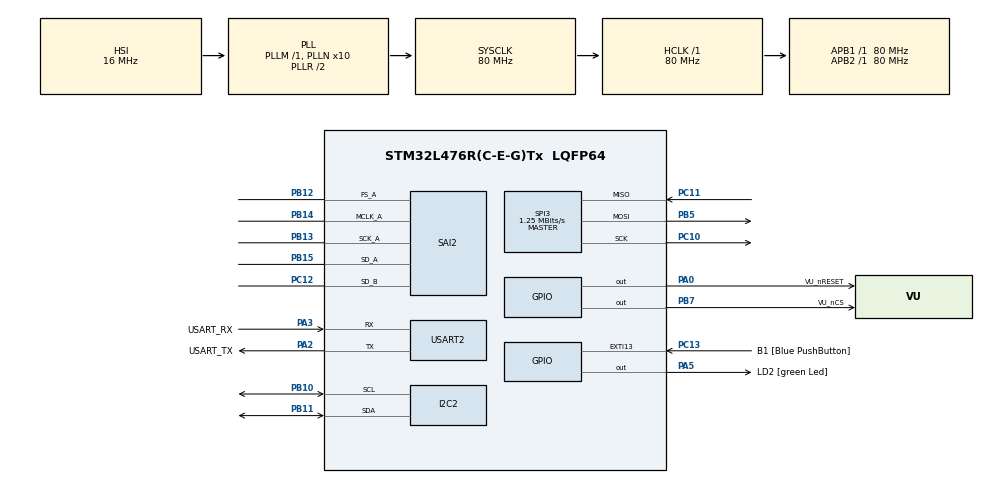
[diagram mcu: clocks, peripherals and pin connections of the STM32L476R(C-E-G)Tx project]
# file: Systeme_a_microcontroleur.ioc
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Dma.Request0=SAI2_A
Dma.Request1=SAI2_B
Dma.SAI2_A.0.Direction=DMA_MEMORY_TO_PERIPH
Dma.SAI2_A.0.Instance=DMA1_Channel6
Dma.SAI2_A.0.MemDataAlignment=DMA_MDATAALIGN_WORD
Dma.SAI2_A.0.MemInc=DMA_MINC_ENABLE
Dma.SAI2_A.0.Mode=DMA_CIRCULAR
Dma.SAI2_A.0.PeriphDataAlignment=DMA_PDATAALIGN_WORD
Dma.SAI2_A.0.PeriphInc=DMA_PINC_DISABLE
Dma.SAI2_A.0.Priority=DMA_PRIORITY_LOW
Dma.SAI2_B.1.Direction=DMA_PERIPH_TO_MEMORY
Dma.SAI2_B.1.Instance=DMA1_Channel7
Dma.SAI2_B.1.MemDataAlignment=DMA_MDATAALIGN_WORD
Dma.SAI2_B.1.MemInc=DMA_MINC_ENABLE
Dma.SAI2_B.1.Mode=DMA_CIRCULAR
Dma.SAI2_B.1.PeriphDataAlignment=DMA_PDATAALIGN_WORD
Dma.SAI2_B.1.PeriphInc=DMA_PINC_DISABLE
Dma.SAI2_B.1.Priority=DMA_PRIORITY_LOW
I2C2.Timing=0x10D19CE4
Mcu.Family=STM32L4
Mcu.Name=STM32L476R(C-E-G)Tx
Mcu.Package=LQFP64
NVIC.DMA1_Channel6_IRQn=true\:0\:0\:false\:false\:true\:false\:true\:true
NVIC.DMA1_Channel7_IRQn=true\:0\:0\:false\:false\:true\:false\:true\:true
NVIC.PriorityGroup=NVIC_PRIORITYGROUP_4
NVIC.SAI2_IRQn=true\:0\:0\:false\:false\:true\:true\:true\:true
PA0.GPIO_Label=VU_nRESET
PA0.Signal=GPIO_Output
PA13\ (JTMS-SWDIO).GPIO_Label=TMS
PA13\ (JTMS-SWDIO).Mode=Serial_Wire
PA13\ (JTMS-SWDIO).Signal=SYS_JTMS-SWDIO
PA14\ (JTCK-SWCLK).GPIO_Label=TCK
PA14\ (JTCK-SWCLK).Mode=Serial_Wire
PA14\ (JTCK-SWCLK).Signal=SYS_JTCK-SWCLK
PA2.GPIO_Label=USART_TX
PA2.GPIO_Mode=GPIO_MODE_AF_PP
PA2.GPIO_PuPd=GPIO_NOPULL
PA2.GPIO_Speed=GPIO_SPEED_FREQ_VERY_HIGH
PA2.Mode=Asynchronous
PA2.Signal=USART2_TX
PA3.GPIO_Label=USART_RX
PA3.GPIO_Mode=GPIO_MODE_AF_PP
PA3.GPIO_PuPd=GPIO_NOPULL
PA3.GPIO_Speed=GPIO_SPEED_FREQ_VERY_HIGH
PA3.Mode=Asynchronous
PA3.Signal=USART2_RX
PA5.GPIO_Label=LD2 [green Led]
PA5.GPIO_ModeDefaultOutputPP=GPIO_MODE_OUTPUT_PP
PA5.GPIO_PuPd=GPIO_NOPULL
PA5.GPIO_Speed=GPIO_SPEED_FREQ_LOW
PA5.Signal=GPIO_Output
PB10.Mode=I2C
PB10.Signal=I2C2_SCL
PB11.Mode=I2C
PB11.Signal=I2C2_SDA
PB12.Mode=SAI_A_MasterWithClock
PB12.Signal=SAI2_FS_A
PB13.Mode=SAI_A_MasterWithClock
PB13.Signal=SAI2_SCK_A
PB14.Mode=SAI_A_MasterWithClock
PB14.Signal=SAI2_MCLK_A
PB15.Mode=SAI_A_MasterWithClock
PB15.Signal=SAI2_SD_A
PB3\ (JTDO-TRACESWO).GPIO_Label=SWO
PB3\ (JTDO-TRACESWO).Signal=SYS_JTDO-SWO
PB5.Mode=Full_Duplex_Master
PB5.Signal=SPI3_MOSI
PB7.GPIO_Label=VU_nCS
PB7.Signal=GPIO_Output
PC10.Mode=Full_Duplex_Master
PC10.Signal=SPI3_SCK
PC11.Mode=Full_Duplex_Master
PC11.Signal=SPI3_MISO
PC12.Mode=SAI_B_SyncSlave
PC12.Signal=SAI2_SD_B
PC13.GPIO_Label=B1 [Blue PushButton]
PC13.GPIO_ModeDefaultEXTI=GPIO_MODE_IT_FALLING
PC13.GPIO_PuPd=GPIO_NOPULL
PC13.Signal=GPXTI13
PC14-OSC32_IN\ (PC14).Mode=LSE-External-Oscillator
PC14-OSC32_IN\ (PC14).Signal=RCC_OSC32_IN
PC15-OSC32_OUT\ (PC15).Mode=LSE-External-Oscillator
PC15-OSC32_OUT\ (PC15).Signal=RCC_OSC32_OUT
PH0-OSC_IN\ (PH0).Signal=RCC_OSC_IN
PH1-OSC_OUT\ (PH1).Signal=RCC_OSC_OUT
ProjectManager.HeapSize=0x200
ProjectManager.StackSize=0x400
ProjectManager.TargetToolchain=STM32CubeIDE
RCC.ADCFreq_Value=104000000
RCC.AHBFreq_Value=80000000
RCC.APB1Freq_Value=80000000
RCC.APB1TimFreq_Value=80000000
RCC.APB2Freq_Value=80000000
RCC.APB2TimFreq_Value=80000000
RCC.CortexFreq_Value=80000000
RCC.HCLKFreq_Value=80000000
RCC.HSE_VALUE=8000000
RCC.HSI_VALUE=16000000
RCC.MSI_VALUE=4000000
RCC.PLLN=10
RCC.PLLSAI1N=13
RCC.PLLSAI1P=RCC_PLLP_DIV17
RCC.PLLSourceVirtual=RCC_PLLSOURCE_HSI
RCC.PREFETCH_ENABLE=1
RCC.SYSCLKFreq_VALUE=80000000
RCC.SYSCLKSource=RCC_SYSCLKSOURCE_PLLCLK
RCC.USBFreq_Value=104000000
RCC.VCOOutputFreq_Value=160000000
SAI2.AudioFrequency-SAI_A_MasterWithClock=SAI_AUDIO_FREQUENCY_48K
SAI2.ErrorAudioFreq-SAI_A_MasterWithClock=-0.42 %
SAI2.InitProtocol-SAI_A_MasterWithClock=Enable
SAI2.InitProtocol-SAI_B_SyncSlave=Enable
SAI2.Instance-SAI_A_MasterWithClock=SAI$Index_Block_A
SAI2.Instance-SAI_B_SyncSlave=SAI$Index_Block_B
SAI2.MClockEnable-SAI_A_MasterWithClock=SAI_MASTERCLOCK_ENABLE
SAI2.RealAudioFreq-SAI_A_MasterWithClock=47.794 KHz
SAI2.VirtualMode-SAI_A_MasterWithClock=VM_MASTER
SAI2.VirtualMode-SAI_B_SyncSlave=VM_SLAVE
SAI2.VirtualProtocol-SAI_A_BASIC=VM_BASIC_PROTOCOL
SAI2.VirtualProtocol-SAI_B_BASIC=VM_BASIC_PROTOCOL
SPI3.BaudRatePrescaler=SPI_BAUDRATEPRESCALER_64
SPI3.CalculateBaudRate=1.25 MBits/s
SPI3.DataSize=SPI_DATASIZE_8BIT
SPI3.Direction=SPI_DIRECTION_2LINES
SPI3.Mode=SPI_MODE_MASTER
SPI3.VirtualType=VM_MASTER
USART2.VirtualMode-Asynchronous=VM_ASYNC
VP_SAI2_VP_$IpInstance_SAIA_SAI_BASIC.Mode=SAI_A_BASIC
VP_SAI2_VP_$IpInstance_SAIB_SAI_BASIC.Mode=SAI_B_BASIC
board=NUCLEO-L476RG

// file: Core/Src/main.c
/* USER CODE BEGIN Header */

/**

  ******************************************************************************

  * @file           : main.c

  * @brief          : Main program body

  ******************************************************************************

  * @attention

  *

  * Copyright (c) 2025 STMicroelectronics.

  * All rights reserved.

  *

  * This software is licensed under terms that can be found in the LICENSE file

  * in the root directory of this software component.

  * If no LICENSE file comes with this software, it is provided AS-IS.

  *

  ******************************************************************************

  */

/* USER CODE END Header */
#include "main.h"

/* USER CODE BEGIN Includes */
#include "stm32l4xx_hal.h"

/* USER CODE END Includes */

/* USER CODE BEGIN PTD */
/* Structure et définition du driver MCP23S17 */
typedef struct {
    SPI_HandleTypeDef *hspi;   // Interface SPI
    GPIO_TypeDef *CS_Port;     // Port du Chip Select
    uint16_t CS_Pin;           // Pin du Chip Select
    GPIO_TypeDef *RST_Port;    // Port du Reset
    uint16_t RST_Pin;          // Pin du Reset
} MCP23S17_HandleTypeDef;

/* USER CODE END PTD */

/* USER CODE BEGIN PD */

/* Définitions des registres */
#define MCP23S17_ADDRESS   0x40  // Adresse SPI du MCP23S17 (A0, A1, A2 = GND)
#define MCP23S17_IODIRA    0x00  // Registre direction PORTA
#define MCP23S17_IODIRB    0x01  // Registre direction PORTB
#define MCP23S17_GPIOA     0x12  // Registre des données PORTA
#define MCP23S17_GPIOB     0x13  // Registre des données PORTB
#define MCP23S17_IOCON     0x0A  // Registre de configuration

#define CODEC_I2C_ADDRESS     (0x14 << 1)  // HAL utilise l'adresse 8 bits (décalée à gauche)
#define CHIP_ID_REG_ADDRESS   0x0000       // Adresse du registre CHIP_ID

extern SPI_HandleTypeDef hspi3;  // SPI3

/* USER CODE END PD */

/* USER CODE BEGIN PM */

/* Prototypes des fonctions du driver */
void MCP23S17_Init(MCP23S17_HandleTypeDef *dev);
void MCP23S17_WriteRegister(MCP23S17_HandleTypeDef *dev, uint8_t reg, uint8_t value);
void MCP23S17_Chenillard(MCP23S17_HandleTypeDef *dev, uint16_t delay_ms);
void MCP23S17_SetLED(MCP23S17_HandleTypeDef *dev, uint8_t ledIndex, uint8_t state);

/* USER CODE END PM */

I2C_HandleTypeDef hi2c2;

SAI_HandleTypeDef hsai_BlockA2;
SAI_HandleTypeDef hsai_BlockB2;
DMA_HandleTypeDef hdma_sai2_a;
DMA_HandleTypeDef hdma_sai2_b;

SPI_HandleTypeDef hspi3;

UART_HandleTypeDef huart2;

/* USER CODE BEGIN PV */
HAL_StatusTypeDef Read_ChipID(uint8_t *chip_id)
{
    HAL_StatusTypeDef status;

    // Lecture via HAL_I2C_Mem_Read :
    // - hi2c2 : handle du périphérique I2C
    // - CODEC_I2C_ADDRESS : adresse esclave du périphérique (sur 8 bits)
    // - CHIP_ID_REG_ADDRESS : adresse du registre à lire (sur 16 bits)
    // - I2C_MEMADD_SIZE_16BIT : type d'adresse mémoire (16 bits)
    // - chip_id : pointeur vers la variable de réception
    // - 1 : nombre d'octets à lire
    // - 100 : délai en ms (timeout)

    status = HAL_I2C_Mem_Read(&hi2c2,
                              CODEC_I2C_ADDRESS,
                              CHIP_ID_REG_ADDRESS,
                              I2C_MEMADD_SIZE_16BIT,
                              chip_id,
                              1,
                              100);

    return status;
}

/* USER CODE END PV */

void SystemClock_Config(void);
void PeriphCommonClock_Config(void);
static void MX_GPIO_Init(void);
static void MX_DMA_Init(void);
static void MX_USART2_UART_Init(void);
static void MX_SPI3_Init(void);
static void MX_SAI2_Init(void);
static void MX_I2C2_Init(void);
/* USER CODE BEGIN PFP */

/* Fonction d'écriture d'un registre */
void MCP23S17_WriteRegister(MCP23S17_HandleTypeDef *dev, uint8_t reg, uint8_t value) {
    uint8_t data[3] = {MCP23S17_ADDRESS, reg, value};
    HAL_GPIO_WritePin(dev->CS_Port, dev->CS_Pin, GPIO_PIN_RESET);
    HAL_SPI_Transmit(dev->hspi, data, 3, HAL_MAX_DELAY);
    HAL_GPIO_WritePin(dev->CS_Port, dev->CS_Pin, GPIO_PIN_SET);
}

void MCP23S17_SetLED(MCP23S17_HandleTypeDef *dev, uint8_t ledIndex, uint8_t state) {
	    if (ledIndex >= 16) return; // Vérifier que l'index est valide

	    uint8_t portA_val = 0, portB_val = 0;

	    // Lire l'état actuel des ports
	    HAL_GPIO_WritePin(dev->CS_Port, dev->CS_Pin, GPIO_PIN_RESET);
	    uint8_t dataA[2] = {MCP23S17_ADDRESS | 1, MCP23S17_GPIOA};
	    HAL_SPI_Transmit(dev->hspi, dataA, 2, HAL_MAX_DELAY);
	    HAL_SPI_Receive(dev->hspi, &portA_val, 1, HAL_MAX_DELAY);
	    HAL_GPIO_WritePin(dev->CS_Port, dev->CS_Pin, GPIO_PIN_SET);

	    HAL_GPIO_WritePin(dev->CS_Port, dev->CS_Pin, GPIO_PIN_RESET);
	    uint8_t dataB[2] = {MCP23S17_ADDRESS | 1, MCP23S17_GPIOB};
	    HAL_SPI_Transmit(dev->hspi, dataB, 2, HAL_MAX_DELAY);
	    HAL_SPI_Receive(dev->hspi, &portB_val, 1, HAL_MAX_DELAY);
	    HAL_GPIO_WritePin(dev->CS_Port, dev->CS_Pin, GPIO_PIN_SET);

	    // Modifier la LED ciblée
	    if (ledIndex < 8) {
	        if (state)
	            portA_val |= (1 << ledIndex);
	        else
	            portA_val &= ~(1 << ledIndex);
	    } else {
	        if (state)
	            portB_val |= (1 << (ledIndex - 8));
	        else
	            portB_val &= ~(1 << (ledIndex - 8));
	    }

	    // Écrire les nouvelles valeurs
	    MCP23S17_WriteRegister(dev, MCP23S17_GPIOA, portA_val);
	    MCP23S17_WriteRegister(dev, MCP23S17_GPIOB, portB_val);
	}

/* USER CODE END PFP */

/* USER CODE BEGIN 0 */

int __io_putchar(int chr)
{
 HAL_UART_Transmit(&huart2, (uint8_t*)&chr, 1, HAL_MAX_DELAY);
 return chr;
}

/* Initialisation du MCP23S17 */
void MCP23S17_Init(MCP23S17_HandleTypeDef *dev) {
    HAL_GPIO_WritePin(dev->RST_Port, dev->RST_Pin, GPIO_PIN_RESET);
    HAL_Delay(10);
    HAL_GPIO_WritePin(dev->RST_Port, dev->RST_Pin, GPIO_PIN_SET);
    HAL_Delay(10);
    MCP23S17_WriteRegister(dev, MCP23S17_IOCON, 0x08);
    MCP23S17_WriteRegister(dev, MCP23S17_IODIRA, 0x00);
    MCP23S17_WriteRegister(dev, MCP23S17_IODIRB, 0x00);
}

/* Effet chenillard sur 16 LEDs */
void MCP23S17_Chenillard(MCP23S17_HandleTypeDef *dev, uint16_t delay_ms) {
    for (uint8_t i = 0; i < 16; i++) {
        uint8_t portA_val = (i < 8) ? (1 << i) : 0;
        uint8_t portB_val = (i >= 8) ? (1 << (i - 8)) : 0;
        MCP23S17_WriteRegister(dev, MCP23S17_GPIOA, portA_val);
        MCP23S17_WriteRegister(dev, MCP23S17_GPIOB, portB_val);
        HAL_Delay(delay_ms);
    }
}

/* USER CODE END 0 */

int main(void)
{

  /* MCU Configuration--------------------------------------------------------*/

  /* Reset of all peripherals, Initializes the Flash interface and the Systick. */
  HAL_Init();

  /* Configure the system clock */
  SystemClock_Config();

  /* Configure the peripherals common clocks */
  PeriphCommonClock_Config();

  /* Initialize all configured peripherals */
  MX_GPIO_Init();
  MX_DMA_Init();
  MX_USART2_UART_Init();
  MX_SPI3_Init();
  MX_SAI2_Init();
  MX_I2C2_Init();
  /* USER CODE BEGIN 2 */
  __HAL_SAI_ENABLE(&hsai_BlockA2);
  printf("\r\n==== Systeme micro ====\r\n");

  MCP23S17_HandleTypeDef mcp23s17 = {
         .hspi = &hspi3,
         .CS_Port = GPIOB,
         .CS_Pin = GPIO_PIN_7,
         .RST_Port = GPIOA,
         .RST_Pin = GPIO_PIN_0
     };
  MCP23S17_Init(&mcp23s17);

  uint8_t chip_id_value;
  if (Read_ChipID(&chip_id_value) == HAL_OK) {
      printf("CHIP_ID = 0x%02X\n", chip_id_value);
  } else {
      printf("Erreur de lecture du CHIP_ID.\n");
  }

  /* USER CODE END 2 */

  /* Infinite loop */
  while (1)
  {

  }
}

void SystemClock_Config(void)
{
  RCC_OscInitTypeDef RCC_OscInitStruct = {0};
  RCC_ClkInitTypeDef RCC_ClkInitStruct = {0};

  /** Configure the main internal regulator output voltage
  */
  if (HAL_PWREx_ControlVoltageScaling(PWR_REGULATOR_VOLTAGE_SCALE1) != HAL_OK)
  {
    Error_Handler();
  }

  /** Initializes the RCC Oscillators according to the specified parameters
  * in the RCC_OscInitTypeDef structure.
  */
  RCC_OscInitStruct.OscillatorType = RCC_OSCILLATORTYPE_HSI;
  RCC_OscInitStruct.HSIState = RCC_HSI_ON;
  RCC_OscInitStruct.HSICalibrationValue = RCC_HSICALIBRATION_DEFAULT;
  RCC_OscInitStruct.PLL.PLLState = RCC_PLL_ON;
  RCC_OscInitStruct.PLL.PLLSource = RCC_PLLSOURCE_HSI;
  RCC_OscInitStruct.PLL.PLLM = 1;
  RCC_OscInitStruct.PLL.PLLN = 10;
  RCC_OscInitStruct.PLL.PLLP = RCC_PLLP_DIV7;
  RCC_OscInitStruct.PLL.PLLQ = RCC_PLLQ_DIV2;
  RCC_OscInitStruct.PLL.PLLR = RCC_PLLR_DIV2;
  if (HAL_RCC_OscConfig(&RCC_OscInitStruct) != HAL_OK)
  {
    Error_Handler();
  }

  /** Initializes the CPU, AHB and APB buses clocks
  */
  RCC_ClkInitStruct.ClockType = RCC_CLOCKTYPE_HCLK|RCC_CLOCKTYPE_SYSCLK
                              |RCC_CLOCKTYPE_PCLK1|RCC_CLOCKTYPE_PCLK2;
  RCC_ClkInitStruct.SYSCLKSource = RCC_SYSCLKSOURCE_PLLCLK;
  RCC_ClkInitStruct.AHBCLKDivider = RCC_SYSCLK_DIV1;
  RCC_ClkInitStruct.APB1CLKDivider = RCC_HCLK_DIV1;
  RCC_ClkInitStruct.APB2CLKDivider = RCC_HCLK_DIV1;

  if (HAL_RCC_ClockConfig(&RCC_ClkInitStruct, FLASH_LATENCY_4) != HAL_OK)
  {
    Error_Handler();
  }
}

void PeriphCommonClock_Config(void)
{
  RCC_PeriphCLKInitTypeDef PeriphClkInit = {0};

  /** Initializes the peripherals clock
  */
  PeriphClkInit.PeriphClockSelection = RCC_PERIPHCLK_SAI2;
  PeriphClkInit.Sai2ClockSelection = RCC_SAI2CLKSOURCE_PLLSAI1;
  PeriphClkInit.PLLSAI1.PLLSAI1Source = RCC_PLLSOURCE_HSI;
  PeriphClkInit.PLLSAI1.PLLSAI1M = 1;
  PeriphClkInit.PLLSAI1.PLLSAI1N = 13;
  PeriphClkInit.PLLSAI1.PLLSAI1P = RCC_PLLP_DIV17;
  PeriphClkInit.PLLSAI1.PLLSAI1Q = RCC_PLLQ_DIV2;
  PeriphClkInit.PLLSAI1.PLLSAI1R = RCC_PLLR_DIV2;
  PeriphClkInit.PLLSAI1.PLLSAI1ClockOut = RCC_PLLSAI1_SAI1CLK;
  if (HAL_RCCEx_PeriphCLKConfig(&PeriphClkInit) != HAL_OK)
  {
    Error_Handler();
  }
}

static void MX_I2C2_Init(void)
{

  hi2c2.Instance = I2C2;
  hi2c2.Init.Timing = 0x10D19CE4;
  hi2c2.Init.OwnAddress1 = 0;
  hi2c2.Init.AddressingMode = I2C_ADDRESSINGMODE_7BIT;
  hi2c2.Init.DualAddressMode = I2C_DUALADDRESS_DISABLE;
  hi2c2.Init.OwnAddress2 = 0;
  hi2c2.Init.OwnAddress2Masks = I2C_OA2_NOMASK;
  hi2c2.Init.GeneralCallMode = I2C_GENERALCALL_DISABLE;
  hi2c2.Init.NoStretchMode = I2C_NOSTRETCH_DISABLE;
  if (HAL_I2C_Init(&hi2c2) != HAL_OK)
  {
    Error_Handler();
  }

  /** Configure Analogue filter
  */
  if (HAL_I2CEx_ConfigAnalogFilter(&hi2c2, I2C_ANALOGFILTER_ENABLE) != HAL_OK)
  {
    Error_Handler();
  }

  /** Configure Digital filter
  */
  if (HAL_I2CEx_ConfigDigitalFilter(&hi2c2, 0) != HAL_OK)
  {
    Error_Handler();
  }

}

static void MX_SAI2_Init(void)
{

  hsai_BlockA2.Instance = SAI2_Block_A;
  hsai_BlockA2.Init.AudioMode = SAI_MODEMASTER_TX;
  hsai_BlockA2.Init.Synchro = SAI_ASYNCHRONOUS;
  hsai_BlockA2.Init.OutputDrive = SAI_OUTPUTDRIVE_DISABLE;
  hsai_BlockA2.Init.NoDivider = SAI_MASTERDIVIDER_ENABLE;
  hsai_BlockA2.Init.FIFOThreshold = SAI_FIFOTHRESHOLD_EMPTY;
  hsai_BlockA2.Init.AudioFrequency = SAI_AUDIO_FREQUENCY_48K;
  hsai_BlockA2.Init.SynchroExt = SAI_SYNCEXT_DISABLE;
  hsai_BlockA2.Init.MonoStereoMode = SAI_STEREOMODE;
  hsai_BlockA2.Init.CompandingMode = SAI_NOCOMPANDING;
  hsai_BlockA2.Init.TriState = SAI_OUTPUT_NOTRELEASED;
  if (HAL_SAI_InitProtocol(&hsai_BlockA2, SAI_I2S_STANDARD, SAI_PROTOCOL_DATASIZE_16BIT, 2) != HAL_OK)
  {
    Error_Handler();
  }
  hsai_BlockB2.Instance = SAI2_Block_B;
  hsai_BlockB2.Init.AudioMode = SAI_MODESLAVE_RX;
  hsai_BlockB2.Init.Synchro = SAI_SYNCHRONOUS;
  hsai_BlockB2.Init.OutputDrive = SAI_OUTPUTDRIVE_DISABLE;
  hsai_BlockB2.Init.FIFOThreshold = SAI_FIFOTHRESHOLD_EMPTY;
  hsai_BlockB2.Init.SynchroExt = SAI_SYNCEXT_DISABLE;
  hsai_BlockB2.Init.MonoStereoMode = SAI_STEREOMODE;
  hsai_BlockB2.Init.CompandingMode = SAI_NOCOMPANDING;
  hsai_BlockB2.Init.TriState = SAI_OUTPUT_NOTRELEASED;
  if (HAL_SAI_InitProtocol(&hsai_BlockB2, SAI_I2S_STANDARD, SAI_PROTOCOL_DATASIZE_16BIT, 2) != HAL_OK)
  {
    Error_Handler();
  }

}

static void MX_SPI3_Init(void)
{

  /* SPI3 parameter configuration*/
  hspi3.Instance = SPI3;
  hspi3.Init.Mode = SPI_MODE_MASTER;
  hspi3.Init.Direction = SPI_DIRECTION_2LINES;
  hspi3.Init.DataSize = SPI_DATASIZE_8BIT;
  hspi3.Init.CLKPolarity = SPI_POLARITY_LOW;
  hspi3.Init.CLKPhase = SPI_PHASE_1EDGE;
  hspi3.Init.NSS = SPI_NSS_SOFT;
  hspi3.Init.BaudRatePrescaler = SPI_BAUDRATEPRESCALER_64;
  hspi3.Init.FirstBit = SPI_FIRSTBIT_MSB;
  hspi3.Init.TIMode = SPI_TIMODE_DISABLE;
  hspi3.Init.CRCCalculation = SPI_CRCCALCULATION_DISABLE;
  hspi3.Init.CRCPolynomial = 7;
  hspi3.Init.CRCLength = SPI_CRC_LENGTH_DATASIZE;
  hspi3.Init.NSSPMode = SPI_NSS_PULSE_ENABLE;
  if (HAL_SPI_Init(&hspi3) != HAL_OK)
  {
    Error_Handler();
  }

}

static void MX_USART2_UART_Init(void)
{

  huart2.Instance = USART2;
  huart2.Init.BaudRate = 115200;
  huart2.Init.WordLength = UART_WORDLENGTH_8B;
  huart2.Init.StopBits = UART_STOPBITS_1;
  huart2.Init.Parity = UART_PARITY_NONE;
  huart2.Init.Mode = UART_MODE_TX_RX;
  huart2.Init.HwFlowCtl = UART_HWCONTROL_NONE;
  huart2.Init.OverSampling = UART_OVERSAMPLING_16;
  huart2.Init.OneBitSampling = UART_ONE_BIT_SAMPLE_DISABLE;
  huart2.AdvancedInit.AdvFeatureInit = UART_ADVFEATURE_NO_INIT;
  if (HAL_UART_Init(&huart2) != HAL_OK)
  {
    Error_Handler();
  }

}

static void MX_DMA_Init(void)
{

  /* DMA controller clock enable */
  __HAL_RCC_DMA1_CLK_ENABLE();

  /* DMA interrupt init */
  /* DMA1_Channel6_IRQn interrupt configuration */
  HAL_NVIC_SetPriority(DMA1_Channel6_IRQn, 0, 0);
  HAL_NVIC_EnableIRQ(DMA1_Channel6_IRQn);
  /* DMA1_Channel7_IRQn interrupt configuration */
  HAL_NVIC_SetPriority(DMA1_Channel7_IRQn, 0, 0);
  HAL_NVIC_EnableIRQ(DMA1_Channel7_IRQn);

}

static void MX_GPIO_Init(void)
{
  GPIO_InitTypeDef GPIO_InitStruct = {0};

  /* GPIO Ports Clock Enable */
  __HAL_RCC_GPIOC_CLK_ENABLE();
  __HAL_RCC_GPIOH_CLK_ENABLE();
  __HAL_RCC_GPIOA_CLK_ENABLE();
  __HAL_RCC_GPIOB_CLK_ENABLE();

  /*Configure GPIO pin Output Level */
  HAL_GPIO_WritePin(GPIOA, VU_nRESET_Pin|LD2_Pin, GPIO_PIN_RESET);

  /*Configure GPIO pin Output Level */
  HAL_GPIO_WritePin(VU_nCS_GPIO_Port, VU_nCS_Pin, GPIO_PIN_RESET);

  /*Configure GPIO pin : B1_Pin */
  GPIO_InitStruct.Pin = B1_Pin;
  GPIO_InitStruct.Mode = GPIO_MODE_IT_FALLING;
  GPIO_InitStruct.Pull = GPIO_NOPULL;
  HAL_GPIO_Init(B1_GPIO_Port, &GPIO_InitStruct);

  /*Configure GPIO pins : VU_nRESET_Pin LD2_Pin */
  GPIO_InitStruct.Pin = VU_nRESET_Pin|LD2_Pin;
  GPIO_InitStruct.Mode = GPIO_MODE_OUTPUT_PP;
  GPIO_InitStruct.Pull = GPIO_NOPULL;
  GPIO_InitStruct.Speed = GPIO_SPEED_FREQ_LOW;
  HAL_GPIO_Init(GPIOA, &GPIO_InitStruct);

  /*Configure GPIO pin : VU_nCS_Pin */
  GPIO_InitStruct.Pin = VU_nCS_Pin;
  GPIO_InitStruct.Mode = GPIO_MODE_OUTPUT_PP;
  GPIO_InitStruct.Pull = GPIO_NOPULL;
  GPIO_InitStruct.Speed = GPIO_SPEED_FREQ_LOW;
  HAL_GPIO_Init(VU_nCS_GPIO_Port, &GPIO_InitStruct);

}

void Error_Handler(void)
{
  __disable_irq();
  while (1)
  {
  }
}
